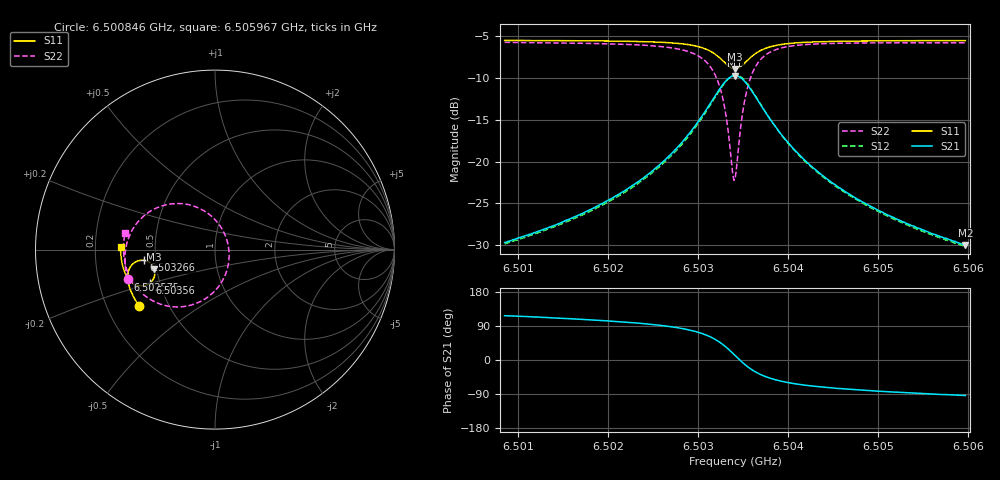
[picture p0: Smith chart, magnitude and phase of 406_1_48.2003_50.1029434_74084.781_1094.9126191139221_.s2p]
#  HZ  S  RI  R  50.00
! Rohde & Schwarz Vector Network Analyzer
! Rohde-Schwarz,ZNB20-2Port,1311601062101988,3.16
! Created: UTC 3/20/2024, 11:54:13 AM
! freq[Hz]  re:S11  im:S11  re:S21  im:S21  re:S12  im:S12  re:S22  im:S22
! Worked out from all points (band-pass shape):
!   401 points, 6.500846 GHz to 6.505967 GHz, reference 50 ohm
!   highest |S21| = -9.76 dB at 6.503407 GHz (marker M1); lowest = -30.0 dB at 6.505967 GHz (marker M2)
!   |S21| within 3 dB of the highest: 6.503151 GHz to 6.503663 GHz (512 kHz wide, 0.00787 % of centre)
!   lowest |S11| = -9.0 dB at 6.503407 GHz (marker M3), VSWR 2.10, Z = 24.2 - j6.04 ohm
!   |S11| at or under -10 dB: nowhere
!   |S22| runs from -22.2 to -5.8 dB; largest |S21 - S12| = 0.011
!   S11 on the Smith chart (normalised r, x): 6.500846 GHz: 0.34, -0.30; 6.502575 GHz: 0.33, -0.15; 6.503266 GHz: 0.43, -0.06; 6.50356 GHz: 0.44, -0.20; 6.505967 GHz: 0.31, +0.01
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6.5008464e9  -0.4213 -0.3157  -0.0149 0.0293  -0.0133 0.0295  -0.4865 -0.164
6.5017041e9  -0.459 -0.253  -0.0144 0.0467  -0.0121 0.0464  -0.5014 -0.0745
6.502165e9  -0.4756 -0.2129  -0.0119 0.0652  -0.00892 0.0641  -0.4996 -0.0106
6.5025618e9  -0.4855 -0.1699  -0.00301 0.0948  0.000478 0.0925  -0.481 0.0665
6.5025746e9  -0.4857 -0.1683  -0.00256 0.0963  0.00115 0.0939  -0.4797 0.0695
6.5028178e9  -0.4851 -0.1332  0.0157 0.1292  0.0194 0.1254  -0.4416 0.139
6.5029971e9  -0.4737 -0.1  0.0501 0.1653  0.0533 0.1599  -0.3739 0.2049
6.5031635e9  -0.4393 -0.067  0.1271 0.1985  0.1283 0.1922  -0.2325 0.2557
6.5032659e9  -0.3968 -0.06  0.2119 0.1902  0.212 0.1849  -0.0851 0.2289
6.5033171e9  -0.3714 -0.0684  0.2599 0.1625  0.2607 0.1581  -0.00512 0.1723
6.5033811e9  -0.3448 -0.0945  0.3075 0.0998  0.3101 0.0951  0.067 0.0518
6.5034067e9  -0.3385 -0.1089  0.318 0.068  0.321 0.0625  0.0779 -0.00754
6.5034323e9  -0.3353 -0.1242  0.3217 0.0348  0.3252 0.0281  0.0766 -0.0681
6.5034963e9  -0.3421 -0.1612  0.3044 -0.0425  0.3065 -0.0521  0.0228 -0.2022
6.5035603e9  -0.363 -0.1868  0.2623 -0.0964  0.2614 -0.1072  -0.0721 -0.2846
6.5036628e9  -0.4021 -0.2021  0.1885 -0.1325  0.1834 -0.1418  -0.2205 -0.3194
6.5038292e9  -0.448 -0.1925  0.1077 -0.13  0.1009 -0.1349  -0.3664 -0.2737
6.5040084e9  -0.4753 -0.1713  0.0634 -0.1103  0.0575 -0.1126  -0.4381 -0.2097
6.5042644e9  -0.4959 -0.1412  0.0339 -0.0864  0.0291 -0.087  -0.4813 -0.1383
6.5046997e9  -0.5128 -0.0966  0.0134 -0.0613  0.0103 -0.0609  -0.505 -0.0555
6.5051222e9  -0.5211 -0.0579  0.00499 -0.0473  0.00288 -0.0467  -0.5098 0.00195
6.5059671e9  -0.5257 0.0132  -0.00205 -0.0317  -0.0033 -0.0311  -0.5019 0.0903
